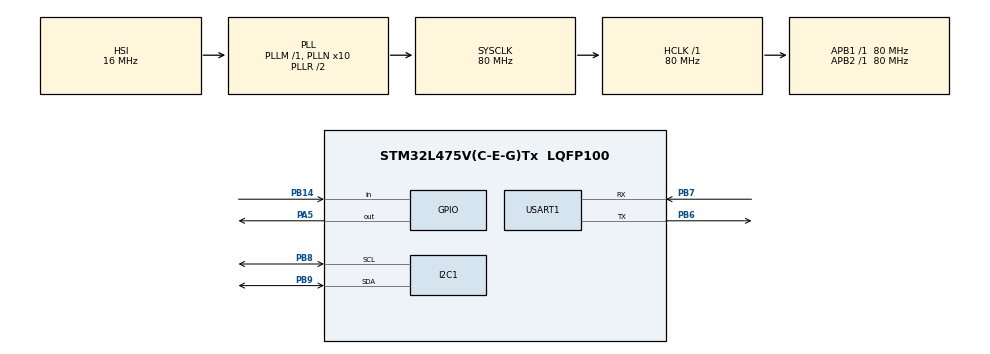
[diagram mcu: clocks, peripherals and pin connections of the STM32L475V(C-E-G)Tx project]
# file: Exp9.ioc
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I2C1.Timing=0x10D19CE4
Mcu.Family=STM32L4
Mcu.Name=STM32L475V(C-E-G)Tx
Mcu.Package=LQFP100
NVIC.PriorityGroup=NVIC_PRIORITYGROUP_4
PA5.Signal=GPIO_Output
PB14.Signal=GPIO_Input
PB6.Mode=Asynchronous
PB6.Signal=USART1_TX
PB7.Mode=Asynchronous
PB7.Signal=USART1_RX
PB8.Mode=I2C
PB8.Signal=I2C1_SCL
PB9.Mode=I2C
PB9.Signal=I2C1_SDA
PC14-OSC32_IN\ (PC14).Mode=LSE-External-Clock-Source
PC14-OSC32_IN\ (PC14).Signal=RCC_OSC32_IN
PH0-OSC_IN\ (PH0).Mode=HSE-External-Clock-Source
PH0-OSC_IN\ (PH0).Signal=RCC_OSC_IN
ProjectManager.HeapSize=0x200
ProjectManager.StackSize=0x400
ProjectManager.TargetToolchain=STM32CubeIDE
RCC.ADCFreq_Value=64000000
RCC.AHBFreq_Value=80000000
RCC.APB1Freq_Value=80000000
RCC.APB1TimFreq_Value=80000000
RCC.APB2Freq_Value=80000000
RCC.APB2TimFreq_Value=80000000
RCC.CortexFreq_Value=80000000
RCC.HCLKFreq_Value=80000000
RCC.HSE_VALUE=8000000
RCC.HSI_VALUE=16000000
RCC.LSE_VALUE=32768
RCC.MSI_VALUE=4000000
RCC.PLLN=10
RCC.PLLSourceVirtual=RCC_PLLSOURCE_HSI
RCC.SYSCLKFreq_VALUE=80000000
RCC.SYSCLKSource=RCC_SYSCLKSOURCE_PLLCLK
RCC.USBFreq_Value=64000000
RCC.VCOOutputFreq_Value=160000000
USART1.VirtualMode-Asynchronous=VM_ASYNC
board=custom

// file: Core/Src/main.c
/* USER CODE BEGIN Header */
/**
  ******************************************************************************
  * @file           : main.c
  * @brief          : Main program body
  ******************************************************************************
  * @attention
  *
  * Copyright (c) 2026 STMicroelectronics.
  * All rights reserved.
  *
  * This software is licensed under terms that can be found in the LICENSE file
  * in the root directory of this software component.
  * If no LICENSE file comes with this software, it is provided AS-IS.
  *
  ******************************************************************************
  */
/* USER CODE END Header */
#include "main.h"
#include "stm32l475e_iot01.h"
#include "stm32l475e_iot01_hsensor.h"
#include "stm32l475e_iot01_tsensor.h"
#include "stm32l475e_iot01_psensor.h"
#include "stm32l475e_iot01_accelero.h"
#include "stdlib.h"
#include <math.h>
#include <string.h>
#include <stdio.h>

I2C_HandleTypeDef hi2c1;

UART_HandleTypeDef huart1;
I2C_HandleTypeDef hi2c1;

/* USER CODE BEGIN PV */
char uart_buf[200];

float temp = 0;
float hum = 0;
float pressure = 0;

int16_t accel[3];
/* USER CODE END PV */

void SystemClock_Config(void);
static void MX_GPIO_Init(void);
static void MX_I2C1_Init(void);
static void MX_USART1_UART_Init(void);

int main(void)
{

  /* MCU Configuration--------------------------------------------------------*/

  /* Reset of all peripherals, Initializes the Flash interface and the Systick. */
  HAL_Init();

  /* Configure the system clock */
  SystemClock_Config();

  /* Initialize all configured peripherals */
  MX_GPIO_Init();
  MX_I2C1_Init();
  MX_USART1_UART_Init();
  /* USER CODE BEGIN 2 */
  char start_msg[] = "\r===== SENSOR SYSTEM START =====\r";
   HAL_UART_Transmit(&huart1, (uint8_t*)start_msg, strlen(start_msg), 1000);

   // HTS221 (Temp + Humidity)
   if (BSP_HSENSOR_Init() == HSENSOR_OK && BSP_TSENSOR_Init() == TSENSOR_OK)
   {
       char msg[] = "HTS221 OK\r";
       HAL_UART_Transmit(&huart1, (uint8_t*)msg, strlen(msg), 1000);
   }
   else
   {
       char msg[] = "HTS221 ERROR";
       HAL_UART_Transmit(&huart1, (uint8_t*)msg, strlen(msg), 1000);
   }

   // Pressure sensor
   if (BSP_PSENSOR_Init() == PSENSOR_OK)
   {
       char msg[] = "LPS22HB OK\r";
       HAL_UART_Transmit(&huart1, (uint8_t*)msg, strlen(msg), 1000);
   }
   else
   {
       char msg[] = "Pressure ERROR\r";
       HAL_UART_Transmit(&huart1, (uint8_t*)msg, strlen(msg), 1000);
   }

   if (BSP_ACCELERO_Init() == ACCELERO_OK)
   {
       char msg[] = "LSM6DSL Accelerometer OK\r";
       HAL_UART_Transmit(&huart1, (uint8_t*)msg, strlen(msg), 1000);
   }
   else
   {
       char msg[] = "Accelerometer ERROR\r";
       HAL_UART_Transmit(&huart1, (uint8_t*)msg, strlen(msg), 1000);
   }

   HAL_Delay(1000);

  /* USER CODE END 2 */

  /* Infinite loop */
  while (1)
  {

    /* USER CODE BEGIN 3 */
	  // Read environmental sensors
	    temp = BSP_TSENSOR_ReadTemp();
	    hum = BSP_HSENSOR_ReadHumidity();
	    pressure = BSP_PSENSOR_ReadPressure();

	    // Read accelerometer
	    BSP_ACCELERO_AccGetXYZ(accel);

	    // Convert mg → g
	    float ax = accel[0] / 1000.0f;
	    float ay = accel[1] / 1000.0f;
	    float az = accel[2] / 1000.0f;

	    // Magnitude (useful for motion detection)
	    float a_mag = sqrt(ax*ax + ay*ay + az*az);

	    // Format UART output
	    sprintf(uart_buf,
	        "Temp: %.2f C | Hum: %.2f %% | Pressure: %.2f hPa | Accel:=%.2f g\r\n",
	        temp, hum, pressure,
	        ax, ay, az, a_mag
	    );
	    HAL_UART_Transmit(&huart1, (uint8_t*)uart_buf, strlen(uart_buf), 1000);

	    HAL_Delay(1000);
  }
  /* USER CODE END 3 */
}

void SystemClock_Config(void)
{
  RCC_OscInitTypeDef RCC_OscInitStruct = {0};
  RCC_ClkInitTypeDef RCC_ClkInitStruct = {0};

  /** Configure the main internal regulator output voltage
  */
  if (HAL_PWREx_ControlVoltageScaling(PWR_REGULATOR_VOLTAGE_SCALE1) != HAL_OK)
  {
    Error_Handler();
  }

  /** Initializes the RCC Oscillators according to the specified parameters
  * in the RCC_OscInitTypeDef structure.
  */
  RCC_OscInitStruct.OscillatorType = RCC_OSCILLATORTYPE_HSI;
  RCC_OscInitStruct.HSIState = RCC_HSI_ON;
  RCC_OscInitStruct.HSICalibrationValue = RCC_HSICALIBRATION_DEFAULT;
  RCC_OscInitStruct.PLL.PLLState = RCC_PLL_ON;
  RCC_OscInitStruct.PLL.PLLSource = RCC_PLLSOURCE_HSI;
  RCC_OscInitStruct.PLL.PLLM = 1;
  RCC_OscInitStruct.PLL.PLLN = 10;
  RCC_OscInitStruct.PLL.PLLP = RCC_PLLP_DIV7;
  RCC_OscInitStruct.PLL.PLLQ = RCC_PLLQ_DIV2;
  RCC_OscInitStruct.PLL.PLLR = RCC_PLLR_DIV2;
  if (HAL_RCC_OscConfig(&RCC_OscInitStruct) != HAL_OK)
  {
    Error_Handler();
  }

  /** Initializes the CPU, AHB and APB buses clocks
  */
  RCC_ClkInitStruct.ClockType = RCC_CLOCKTYPE_HCLK|RCC_CLOCKTYPE_SYSCLK
                              |RCC_CLOCKTYPE_PCLK1|RCC_CLOCKTYPE_PCLK2;
  RCC_ClkInitStruct.SYSCLKSource = RCC_SYSCLKSOURCE_PLLCLK;
  RCC_ClkInitStruct.AHBCLKDivider = RCC_SYSCLK_DIV1;
  RCC_ClkInitStruct.APB1CLKDivider = RCC_HCLK_DIV1;
  RCC_ClkInitStruct.APB2CLKDivider = RCC_HCLK_DIV1;

  if (HAL_RCC_ClockConfig(&RCC_ClkInitStruct, FLASH_LATENCY_4) != HAL_OK)
  {
    Error_Handler();
  }
}

static void MX_I2C1_Init(void)
{

  hi2c1.Instance = I2C1;
  hi2c1.Init.Timing = 0x10D19CE4;
  hi2c1.Init.OwnAddress1 = 0;
  hi2c1.Init.AddressingMode = I2C_ADDRESSINGMODE_7BIT;
  hi2c1.Init.DualAddressMode = I2C_DUALADDRESS_DISABLE;
  hi2c1.Init.OwnAddress2 = 0;
  hi2c1.Init.OwnAddress2Masks = I2C_OA2_NOMASK;
  hi2c1.Init.GeneralCallMode = I2C_GENERALCALL_DISABLE;
  hi2c1.Init.NoStretchMode = I2C_NOSTRETCH_DISABLE;
  if (HAL_I2C_Init(&hi2c1) != HAL_OK)
  {
    Error_Handler();
  }

  /** Configure Analogue filter
  */
  if (HAL_I2CEx_ConfigAnalogFilter(&hi2c1, I2C_ANALOGFILTER_ENABLE) != HAL_OK)
  {
    Error_Handler();
  }

  /** Configure Digital filter
  */
  if (HAL_I2CEx_ConfigDigitalFilter(&hi2c1, 0) != HAL_OK)
  {
    Error_Handler();
  }

}

static void MX_USART1_UART_Init(void)
{

  huart1.Instance = USART1;
  huart1.Init.BaudRate = 115200;
  huart1.Init.WordLength = UART_WORDLENGTH_8B;
  huart1.Init.StopBits = UART_STOPBITS_1;
  huart1.Init.Parity = UART_PARITY_NONE;
  huart1.Init.Mode = UART_MODE_TX_RX;
  huart1.Init.HwFlowCtl = UART_HWCONTROL_NONE;
  huart1.Init.OverSampling = UART_OVERSAMPLING_16;
  huart1.Init.OneBitSampling = UART_ONE_BIT_SAMPLE_DISABLE;
  huart1.AdvancedInit.AdvFeatureInit = UART_ADVFEATURE_NO_INIT;
  if (HAL_UART_Init(&huart1) != HAL_OK)
  {
    Error_Handler();
  }

}

static void MX_GPIO_Init(void)
{
  GPIO_InitTypeDef GPIO_InitStruct = {0};

  /* GPIO Ports Clock Enable */
  __HAL_RCC_GPIOC_CLK_ENABLE();
  __HAL_RCC_GPIOH_CLK_ENABLE();
  __HAL_RCC_GPIOA_CLK_ENABLE();
  __HAL_RCC_GPIOB_CLK_ENABLE();

  /*Configure GPIO pin Output Level */
  HAL_GPIO_WritePin(GPIOA, GPIO_PIN_5, GPIO_PIN_RESET);

  /*Configure GPIO pin : PA5 */
  GPIO_InitStruct.Pin = GPIO_PIN_5;
  GPIO_InitStruct.Mode = GPIO_MODE_OUTPUT_PP;
  GPIO_InitStruct.Pull = GPIO_NOPULL;
  GPIO_InitStruct.Speed = GPIO_SPEED_FREQ_LOW;
  HAL_GPIO_Init(GPIOA, &GPIO_InitStruct);

  /*Configure GPIO pin : PB14 */
  GPIO_InitStruct.Pin = GPIO_PIN_14;
  GPIO_InitStruct.Mode = GPIO_MODE_INPUT;
  GPIO_InitStruct.Pull = GPIO_NOPULL;
  HAL_GPIO_Init(GPIOB, &GPIO_InitStruct);

}

void Error_Handler(void)
{
  __disable_irq();
  while (1)
  {
  }
}
